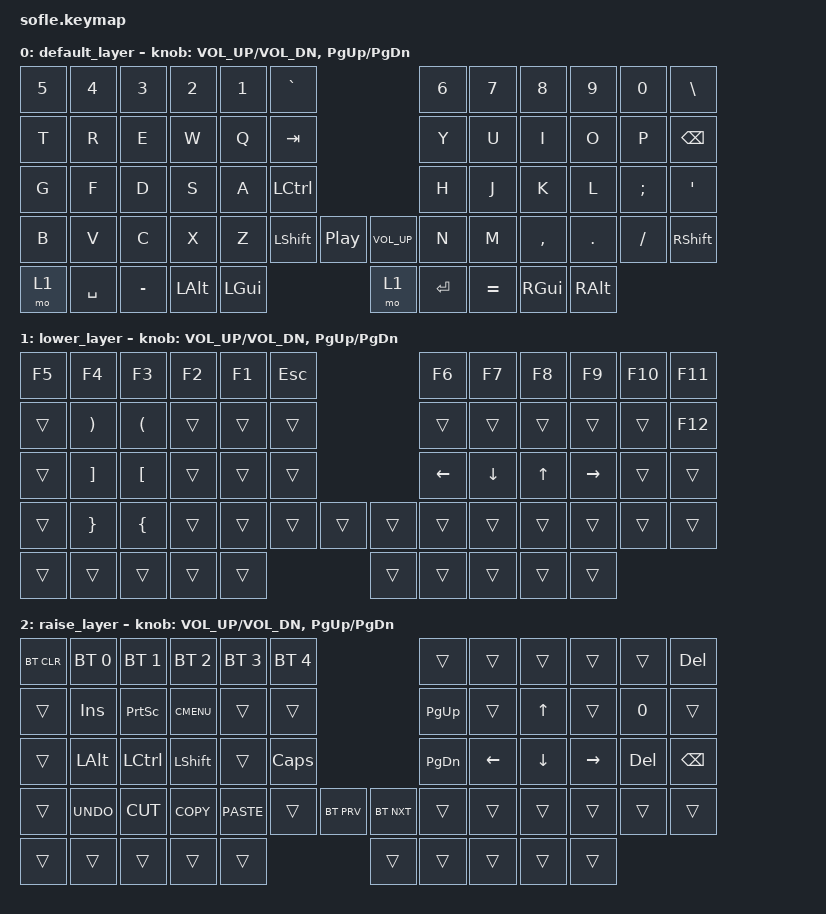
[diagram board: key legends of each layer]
/*
 * Copyright (c) 2020 The ZMK Contributors
 *
 * SPDX-License-Identifier: MIT
 */

#include <behaviors.dtsi>
#include <dt-bindings/zmk/keys.h>
#include <dt-bindings/zmk/bt.h>

/ {
    keymap {
        compatible = "zmk,keymap";

        default_layer {
// ------------------------------------------------------------------------------------------------------------
// |  `    |  1  |  2  |  3   |  4   |  5   |                   |  6   |  7    |  8    |  9   |   0   |   \   |
// |  TAB  |  Q  |  W  |  E   |  R   |  T   |                   |  Y   |  U    |  I    |  O   |   P   | BKSPC |
// |  CTL  |  A  |  S  |  D   |  F   |  G   |                   |  H   |  J    |  K    |  L   |   ;   |   '   |
// | SHIFT |  Z  |  X  |  C   |  V   |  B   |  MUTE  |  |       |  N   |  M    |  ,    |  .   |   /   | SHIFT |
//               | GUI | ALT  |  -   | SPCE |  MO 1  |  | MO 1  |  RET |  =    | ALT   | GUI  |
            
            bindings = <
     &kp N5 &kp N4 &kp N3   &kp N2   &kp N1    &kp GRAVE                                      &kp N6 &kp N7    &kp N8    &kp N9   &kp N0    &kp BSLH
     &kp T  &kp R  &kp E    &kp W    &kp Q     &kp TAB                                        &kp Y  &kp U     &kp I     &kp O    &kp P     &kp BSPC
     &kp G  &kp F  &kp D    &kp S    &kp A     &kp LCTRL                                      &kp H  &kp J     &kp K     &kp L    &kp SEMI  &kp SINGLE_QUOTE
     &kp B  &kp V  &kp C    &kp X    &kp Z     &kp LSHFT      &kp C_PP       &kp C_VOL_UP     &kp N  &kp M     &kp COMMA &kp DOT  &kp SLASH &kp RSHFT
 &mo 1  &kp SPACE  &kp MINUS  &kp LALT  &kp LGUI                             &mo 1 &kp RET   &kp EQUAL &kp RGUI  &kp RALT
            >;

            sensor-bindings = <&inc_dec_kp C_VOL_UP C_VOL_DN &inc_dec_kp PG_UP PG_DN>;
        };
        
       lower_layer {
            bindings = <
&kp F5    &kp F4      &kp F3      &kp F2      &kp F1    &kp ESC                  &kp F6     &kp F7     &kp F8     &kp F9     &kp F10   &kp F11
&trans    &kp RPAR    &kp LPAR    &trans      &trans    &trans                   &trans     &trans     &trans     &trans     &trans    &kp F12
&trans    &kp RBKT    &kp LBKT    &trans      &trans    &trans                   &kp LEFT   &kp DOWN   &kp UP     &kp RIGHT  &trans    &trans
&trans    &kp RBRC    &kp LBRC    &trans      &trans    &trans   &trans   &trans &trans     &trans     &trans     &trans     &trans    &trans
                    &trans    &trans      &trans    &trans    &trans   &trans &trans     &trans     &trans     &trans
            >;

            sensor-bindings = <&inc_dec_kp C_VOL_UP C_VOL_DN &inc_dec_kp PG_UP PG_DN>;
        };
        
        raise_layer {
// ------------------------------------------------------------------------------------------------------------
// |BTCLR| BT1  | BT2  |  BT3  |  BT4  |  BT5 |                |      |      |       |      |       |       |
// |     | INS  | PSCR | GUI   |       |      |                | PGUP |      |   ^   |      |       |       |
// |     | ALT  | CTRL | SHIFT |       | CAPS |                | PGDN |   <- |   v   |  ->  |  DEL  | BKSPC |
// |     | UNDO | CUT  | COPY  | PASTE |      |      |  |      |      |      |       |      |       |       |
//              |      |       |       |      |      |  |      |      |      |       |      |
            bindings = <
&bt BT_CLR &bt BT_SEL 0 &bt BT_SEL 1 &bt BT_SEL 2 &bt BT_SEL 3 &bt BT_SEL 4             &trans    &trans    &trans   &trans    &trans  &kp DELETE
&trans     &kp INS      &kp PSCRN    &kp K_CMENU  &trans       &trans                   &kp PG_UP &trans    &kp UP   &trans    &kp N0  &trans
&trans     &kp LALT     &kp LCTRL    &kp LSHFT    &trans       &kp CLCK                 &kp PG_DN &kp LEFT  &kp DOWN &kp RIGHT &kp DEL &kp BSPC
&trans     &kp K_UNDO   &kp K_CUT    &kp K_COPY   &kp K_PASTE  &trans  &bt BT_PRV   &bt BT_NXT  &trans    &trans    &trans   &trans    &trans  &trans
                        &trans       &trans       &trans       &trans  &trans   &trans  &trans    &trans    &trans   &trans
            >;

            sensor-bindings = <&inc_dec_kp C_VOL_UP C_VOL_DN &inc_dec_kp PG_UP PG_DN>;
        };
    };
};
